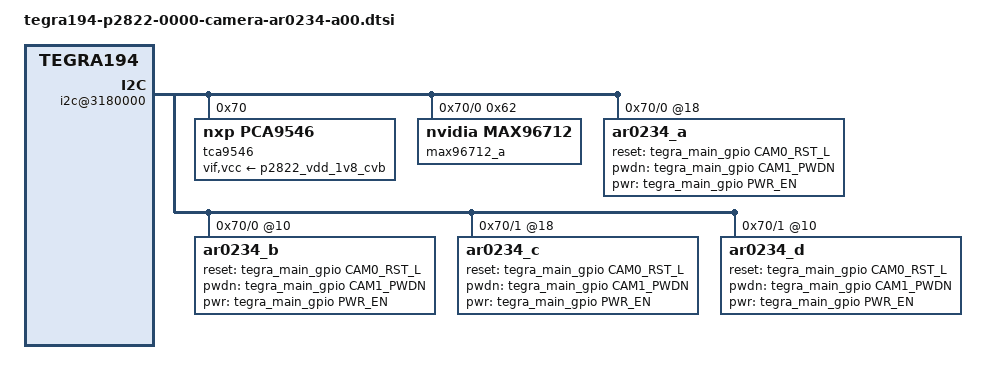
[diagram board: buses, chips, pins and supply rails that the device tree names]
/*
 * Copyright (c) 2018-2022, NVIDIA CORPORATION.  All rights reserved.
 *
 * This program is free software; you can redistribute it and/or modify
 * it under the terms of the GNU General Public License as published by
 * the Free Software Foundation; either version 2 of the License, or
 * (at your option) any later version.
 *
 * This program is distributed in the hope that it will be useful, but WITHOUT
 * ANY WARRANTY; without even the implied warranty of MERCHANTABILITY or
 * FITNESS FOR A PARTICULAR PURPOSE.  See the GNU General Public License for
 * more details.
 *
 * You should have received a copy of the GNU General Public License
 * along with this program.  If not, see <http://www.gnu.org/licenses/>.
 */
#include <t19x-common-modules/tegra194-camera-ar0234-a00.dtsi>
#include "dt-bindings/clock/tegra194-clock.h"


#define CAM0_RST_L	TEGRA194_MAIN_GPIO(H, 3)
#define CAM0_PWDN	TEGRA194_MAIN_GPIO(H, 6)
#define CAM1_RST_L	TEGRA194_MAIN_GPIO(T, 6)
#define CAM1_PWDN	TEGRA194_MAIN_GPIO(T, 5)
#define PWR_EN      TEGRA194_MAIN_GPIO(M, 5)

#define CAMERA_I2C_MUX_BUS(x) (0x1E + x)

/* camera control gpio definitions */

/ {
	i2c@3180000 {
		tca9546@70 {
			compatible = "nxp,pca9546";
			reg = <0x70>;
			#address-cells = <1>;
			#size-cells = <0>;
			skip_mux_detect = "yes";
			vif-supply = <&p2822_vdd_1v8_cvb>;
			vcc-supply = <&p2822_vdd_1v8_cvb>;
			vcc_lp = "vcc";
			force_bus_start = <CAMERA_I2C_MUX_BUS(0)>;

			i2c@0 {
				reg = <0>;
				i2c-mux,deselect-on-exit;
				#address-cells = <1>;
				#size-cells = <0>;

				max96712_a@62 {
					compatible = "nvidia,max96712";
					reg = <0x62>;
					channel = "a";
				};

				ar0234_a@18 {
					def-addr = <0x18>;
					/* Define any required hw resources needed by driver */
					/* ie. clocks, io pins, power sources */
					clocks = <&bpmp_clks TEGRA194_CLK_EXTPERIPH1>,
							<&bpmp_clks TEGRA194_CLK_EXTPERIPH1>;
					clock-names = "extperiph1", "pllp_grtba";
					mclk = "extperiph1";
					channel = "a";
					has-eeprom;
					reset-gpios = <&tegra_main_gpio CAM0_RST_L GPIO_ACTIVE_HIGH>;
					pwdn-gpios = <&tegra_main_gpio CAM1_PWDN GPIO_ACTIVE_HIGH>;
					pwr-gpios = <&tegra_main_gpio PWR_EN GPIO_ACTIVE_HIGH>;
				};
				ar0234_b@10 {
					def-addr = <0x10>;
					/* Define any required hw resources needed by driver */
					/* ie. clocks, io pins, power sources */
					clocks = <&bpmp_clks TEGRA194_CLK_EXTPERIPH1>,
							<&bpmp_clks TEGRA194_CLK_EXTPERIPH1>;
					clock-names = "extperiph1", "pllp_grtba";
					mclk = "extperiph1";
					channel = "n";
					has-eeprom;
					reset-gpios = <&tegra_main_gpio CAM0_RST_L GPIO_ACTIVE_HIGH>;
					pwdn-gpios = <&tegra_main_gpio CAM1_PWDN GPIO_ACTIVE_HIGH>;
					pwr-gpios = <&tegra_main_gpio PWR_EN GPIO_ACTIVE_HIGH>;
				};
			};
			i2c@1 {
				reg = <1>;
				i2c-mux,deselect-on-exit;
				#address-cells = <1>;
				#size-cells = <0>;
				ar0234_c@18 {
					def-addr = <0x18>;
					/* Define any required hw resources needed by driver */
					/* ie. clocks, io pins, power sources */
					clocks = <&bpmp_clks TEGRA194_CLK_EXTPERIPH1>,
							<&bpmp_clks TEGRA194_CLK_EXTPERIPH1>;
					clock-names = "extperiph1", "pllp_grtba";
					mclk = "extperiph1";
					channel = "n";
					has-eeprom;
					reset-gpios = <&tegra_main_gpio CAM0_RST_L GPIO_ACTIVE_HIGH>;
					pwdn-gpios = <&tegra_main_gpio CAM1_PWDN GPIO_ACTIVE_HIGH>;
					pwr-gpios = <&tegra_main_gpio PWR_EN GPIO_ACTIVE_HIGH>;
				};
				ar0234_d@10 {
					ef-addr = <0x10>;
					/* Define any required hw resources needed by driver */
					/* ie. clocks, io pins, power sources */
					clocks = <&bpmp_clks TEGRA194_CLK_EXTPERIPH1>,
							<&bpmp_clks TEGRA194_CLK_EXTPERIPH1>;
					clock-names = "extperiph1", "pllp_grtba";
					mclk = "extperiph1";
					channel = "n";
					has-eeprom;
					reset-gpios = <&tegra_main_gpio CAM0_RST_L GPIO_ACTIVE_HIGH>;
					pwdn-gpios = <&tegra_main_gpio CAM1_PWDN GPIO_ACTIVE_HIGH>;
					pwr-gpios = <&tegra_main_gpio PWR_EN GPIO_ACTIVE_HIGH>;
				};
			};
		};
	};
};
